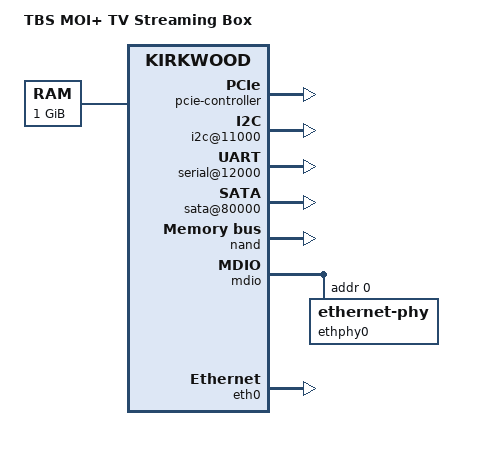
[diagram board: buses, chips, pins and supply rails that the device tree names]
/*
 * TBS MOI+ Board descrition (Marvell RD88F6282)
 *
 * Peter Horn <peter.horn@bluewin.ch>
 *
 * This file is licensed under the terms of the GNU General Public
 * License version 2.  This program is licensed "as is" without any
 * warranty of any kind, whether express or implied.
 */

/dts-v1/;
#include "kirkwood.dtsi"
#include "kirkwood-6282.dtsi"

/ {
	model = "TBS MOI+ TV Streaming Box";
	compatible = "tbs,moiplus", "marvell,kirkwood-88f6282", "marvell,kirkwood";


	memory {
		device_type = "memory";
		reg = <0x00000000 0x40000000>;
	};

	chosen {
		bootargs = "console=ttyS0,115200n8";
		stdout-path = &uart0;
	};

	mbus {
		pcie-controller {
			status = "okay";

			pcie@1,0 {
				status = "okay";
			};
		};
	};

	ocp@f1000000 {
		pinctrl: pin-controller@10000 {
			pinctrl-names = "default";
		};

		i2c@11000 {
			status = "okay";
		};

		serial@12000 {
			status = "okay";
		};
		serial@12100 {
			status = "disabled";
		};

		sata@80000 {
			status = "okay";
			nr-ports = <2>;
		};
	};
};

&nand {
	status = "okay";

	partition@0 {
		label = "u-boot";
		reg = <0x0000000 0x100000>;
		read-only;
	};

	partition@100000 {
		label = "uImage";
		reg = <0x0100000 0x800000>;
	};

	partition@900000 {
		label = "rootfs";
		reg = <0x0900000 0x1F700000>;
	};
};

&mdio {
	status = "okay";

	ethphy0: ethernet-phy@0 {
		reg = <0>;
	};
};

&eth0 {
	status = "okay";
	ethernet0-port@0 {
		phy-handle = <&ethphy0>;
	};
};

